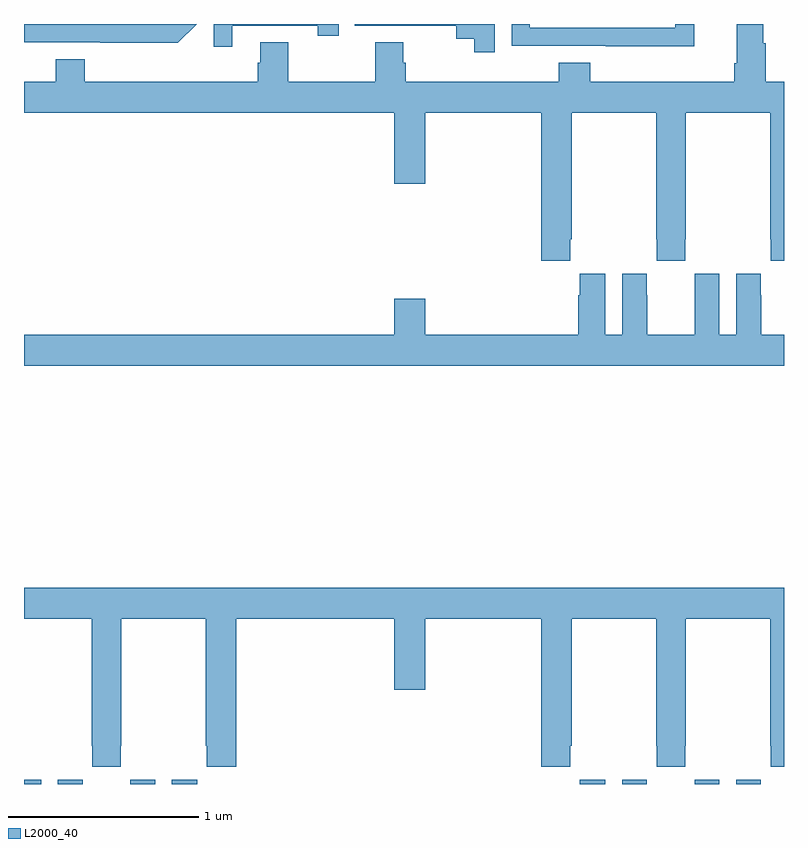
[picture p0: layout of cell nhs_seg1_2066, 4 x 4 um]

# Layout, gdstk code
import gdstk
lib = gdstk.Library(unit=1e-6, precision=1e-09)
def R(c, l, rs):  # rectangles x0, y0, x1, y1
    for r in rs: c.add(gdstk.rectangle(r[:2], r[2:], *l))
def P(c, l, *ps):  # polygons
    for p in ps: c.add(gdstk.Polygon(p, *l))
L2000_40 = (2000, 40)

nhs_seg1_2066 = lib.new_cell('nhs_seg1_2066')
R(nhs_seg1_2066, L2000_40, [(223,548.199,223.09,548.221), (223.178,548.199,223.308,548.221), (223.56,548.199,223.69,548.221), (223.778,548.199,223.912,548.221), (225.926,548.199,226.06,548.221), (226.148,548.199,226.278,548.221), (226.53,548.199,226.66,548.221), (226.748,548.199,226.878,548.221)])
P(nhs_seg1_2066, L2000_40, [(224.095,552.189),(224.546,552.189),(224.546,552.138),(224.657,552.138),(224.657,552.199),(223.998,552.199),(223.998,552.078),(224.095,552.078)],
  [(223.908,552.198),(223.908,552.199),(223.741,552.199),(223.74,552.198),(223,552.198),(223,552.102),(223.402,552.102),(223.402,552.101),(223.81,552.101)],
  [(225.477,552.199),(224.742,552.199),(224.742,552.189),(225.276,552.189),(225.276,552.121),(225.369,552.121),(225.369,552.051),(225.477,552.051)],
  [(226.527,552.199),(226.428,552.199),(226.428,552.18),(225.663,552.18),(225.663,552.199),(225.567,552.199),(225.567,552.084),(226.063,552.084),(226.063,552.083),(226.527,552.083)],
  [(225.875,551.065),(225.882,551.065),(225.882,551.732),(226.327,551.732),(226.327,551.065),(226.329,551.065),(226.329,550.953),(226.479,550.953),(226.479,551.065),(226.482,551.065),(226.482,551.732),(226.927,551.732),(226.927,551.065),(226.929,551.065),(226.929,550.953),(227,550.953),(227,551.896),(226.904,551.896),(226.904,552.098),(226.891,552.098),(226.891,552.199),(226.751,552.199),(226.751,551.992),(226.739,551.992),(226.739,551.896),(225.98,551.896),(225.98,551.995),(225.815,551.995),(225.815,551.896),(225.008,551.896),(225.008,551.994),(224.995,551.994),(224.995,552.104),(224.848,552.104),(224.848,551.896),(224.391,551.896),(224.391,552.104),(224.243,552.104),(224.243,551.994),(224.231,551.994),(224.231,551.896),(223.319,551.896),(223.319,552.013),(223.166,552.013),(223.166,551.896),(223,551.896),(223,551.732),(224.948,551.732),(224.948,551.358),(225.112,551.358),(225.112,551.732),(225.722,551.732),(225.722,550.953),(225.875,550.953)],
  [(227,550.564),(226.879,550.564),(226.879,550.772),(226.878,550.772),(226.878,550.885),(226.748,550.885),(226.748,550.564),(226.66,550.564),(226.66,550.885),(226.53,550.885),(226.53,550.772),(226.529,550.772),(226.529,550.564),(226.279,550.564),(226.279,550.772),(226.278,550.772),(226.278,550.885),(226.148,550.885),(226.148,550.564),(226.06,550.564),(226.06,550.885),(225.926,550.885),(225.926,550.772),(225.917,550.772),(225.917,550.564),(225.112,550.564),(225.112,550.753),(224.948,550.753),(224.948,550.564),(223,550.564),(223,550.4),(227,550.4)],
  [(223.509,548.401),(223.512,548.401),(223.512,549.068),(223.957,549.068),(223.957,548.401),(223.963,548.401),(223.963,548.289),(224.117,548.289),(224.117,549.068),(224.948,549.068),(224.948,548.694),(225.112,548.694),(225.112,549.068),(225.722,549.068),(225.722,548.289),(225.875,548.289),(225.875,548.401),(225.882,548.401),(225.882,549.068),(226.327,549.068),(226.327,548.401),(226.329,548.401),(226.329,548.289),(226.479,548.289),(226.479,548.401),(226.482,548.401),(226.482,549.068),(226.927,549.068),(226.927,548.401),(226.929,548.401),(226.929,548.289),(227,548.289),(227,549.232),(223,549.232),(223,549.068),(223.357,549.068),(223.357,548.401),(223.359,548.401),(223.359,548.289),(223.509,548.289)])

lib.write_gds('nhs_seg1_2066.gds')
